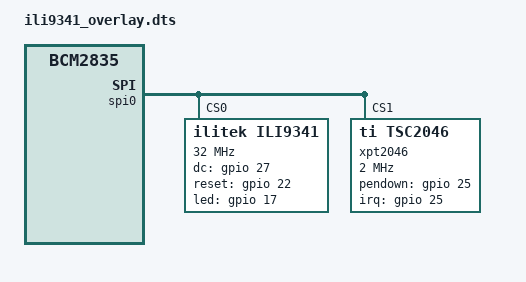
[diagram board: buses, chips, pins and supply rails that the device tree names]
/dts-v1/;
/plugin/;

/ {
    compatible = "brcm,bcm2835";

    fragment@0 {
        target = <&spi0>;
        __overlay__ {
            status = "okay";

            /* --- LCD ILI9341 --- */
            ili9341: ili9341@0 {
                compatible = "ilitek,ili9341";
                reg = <0>;                          // CE0 (GPIO8) → CS_LCD
                spi-max-frequency = <32000000>;     // 32MHz SPI 
                rotate = <90>;    
                bgr;                                // swap RGB → BGR

                dc-gpios = <&gpio 27 0>;            // GPIO27 → D/C
                reset-gpios = <&gpio 22 0>;         // GPIO22 → RESET
                led-gpios = <&gpio 17 0>;           // GPIO17 → LED backlight
            };

            /* --- Touchscreen XPT2046 --- */
            xpt2046: touchscreen@1 {
                compatible = "ti,tsc2046", "xpt2046";
                reg = <1>;                          // CE1 (GPIO7) → CS_TOUCH
                spi-max-frequency = <2000000>;      // 2MHz stable for touch screen

                interrupt-parent = <&gpio>;
                interrupts = <25 2>;                // GPIO25 → T_IRQ (IRQ), falling edge
                pendown-gpio = <&gpio 25 0>;        //  pen down state

                touchscreen-size-x = <240>;         // width
                touchscreen-size-y = <320>;         // height
                touchscreen-inverted-x = <0>;       
                touchscreen-inverted-y = <1>;
            };
        };
    };
};
